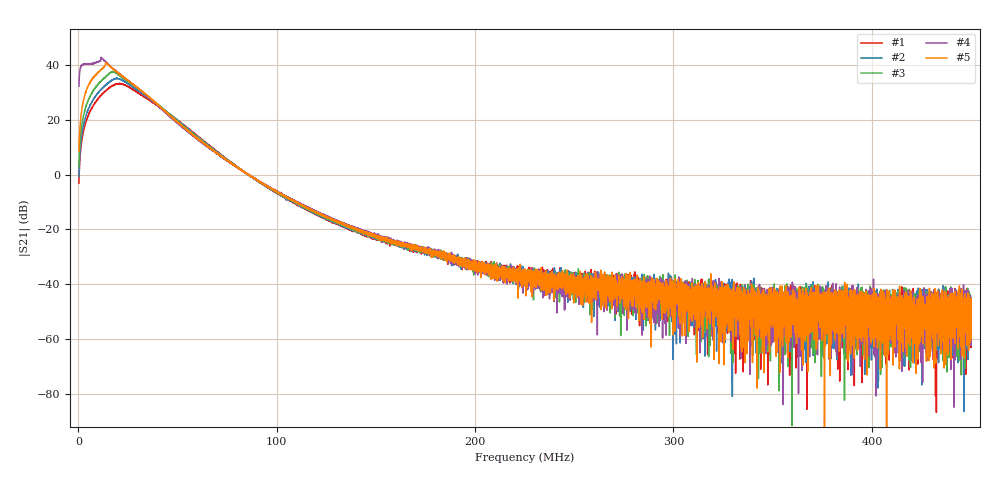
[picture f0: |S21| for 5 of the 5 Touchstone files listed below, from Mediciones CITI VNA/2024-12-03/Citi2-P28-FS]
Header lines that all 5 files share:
# Hz S DB R 50
! CMT, M5065, 19127446, 24.2.4/2
! Data: Format (Calibration Info)
! Freq	S11:dB/Ang(F2)	S21:dB/Ang(F2)	S12:dB/Ang(F2)	S22:dB/Ang(F2)
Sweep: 300 kHz to 450 MHz
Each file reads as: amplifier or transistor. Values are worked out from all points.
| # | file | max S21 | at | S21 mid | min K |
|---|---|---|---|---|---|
| 1 | gain0.s2p | 33.3 dB | 20.89 MHz | -34.5 dB at 225.2 MHz | 1.23 |
| 2 | gain15.s2p | 35.2 dB | 19.54 MHz | -37.0 dB at 225.2 MHz | 1.01 |
| 3 | gain31.s2p | 37.7 dB | 17.19 MHz | -39.8 dB at 225.2 MHz | 0.99 |
| 4 | gain63.s2p | 42.9 dB | 11.44 MHz | -38.7 dB at 225.2 MHz | 0.87 |
| 5 | ganancia_47.s2p | 40.9 dB | 14.09 MHz | -40.8 dB at 225.2 MHz | 0.90 |
